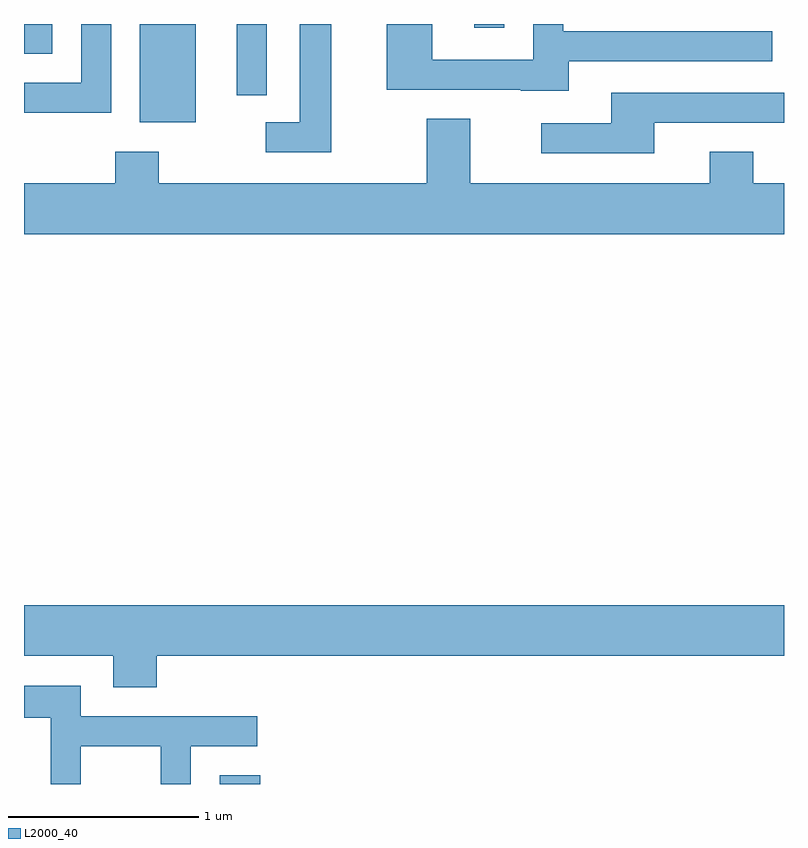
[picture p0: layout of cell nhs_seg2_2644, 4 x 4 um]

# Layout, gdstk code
import gdstk
lib = gdstk.Library(unit=1e-6, precision=1e-09)
def R(c, l, rs):  # rectangles x0, y0, x1, y1
    for r in rs: c.add(gdstk.rectangle(r[:2], r[2:], *l))
def P(c, l, *ps):  # polygons
    for p in ps: c.add(gdstk.Polygon(p, *l))
L2000_40 = (2000, 40)

nhs_seg2_2644 = lib.new_cell('nhs_seg2_2644')
R(nhs_seg2_2644, L2000_40, [(262.641,1109.802,262.854,1109.849), (262.221,1113.286,262.514,1113.802), (262.731,1113.428,262.889,1113.802), (261.611,1113.646,261.759,1113.802), (263.981,1113.783,264.139,1113.802)])
P(nhs_seg2_2644, L2000_40, [(263.229,1113.802),(263.061,1113.802),(263.061,1113.284),(262.883,1113.284),(262.883,1113.126),(263.229,1113.126)],
  [(264.479,1113.606),(265.548,1113.606),(265.548,1113.764),(264.449,1113.764),(264.449,1113.802),(264.291,1113.802),(264.291,1113.614),(263.759,1113.614),(263.759,1113.802),(263.521,1113.802),(263.521,1113.456),(264.225,1113.456),(264.225,1113.451),(264.479,1113.451)],
  [(262.069,1113.802),(261.911,1113.802),(261.911,1113.494),(261.611,1113.494),(261.611,1113.336),(262.069,1113.336)],
  [(264.929,1113.281),(265.611,1113.281),(265.611,1113.439),(264.701,1113.439),(264.701,1113.279),(264.333,1113.279),(264.333,1113.121),(264.929,1113.121)],
  [(265.611,1112.964),(265.449,1112.964),(265.449,1113.129),(265.221,1113.129),(265.221,1112.964),(263.959,1112.964),(263.959,1113.304),(263.731,1113.304),(263.731,1112.964),(262.319,1112.964),(262.319,1113.129),(262.091,1113.129),(262.091,1112.964),(261.611,1112.964),(261.611,1112.696),(265.611,1112.696)],
  [(262.309,1110.476),(265.611,1110.476),(265.611,1110.744),(261.611,1110.744),(261.611,1110.476),(262.081,1110.476),(262.081,1110.311),(262.309,1110.311)],
  [(261.909,1110.001),(262.331,1110.001),(262.331,1109.802),(262.489,1109.802),(262.489,1110.001),(262.838,1110.001),(262.838,1110.159),(261.909,1110.159),(261.909,1110.319),(261.611,1110.319),(261.611,1110.151),(261.751,1110.151),(261.751,1109.802),(261.909,1109.802)])

lib.write_gds('nhs_seg2_2644.gds')
